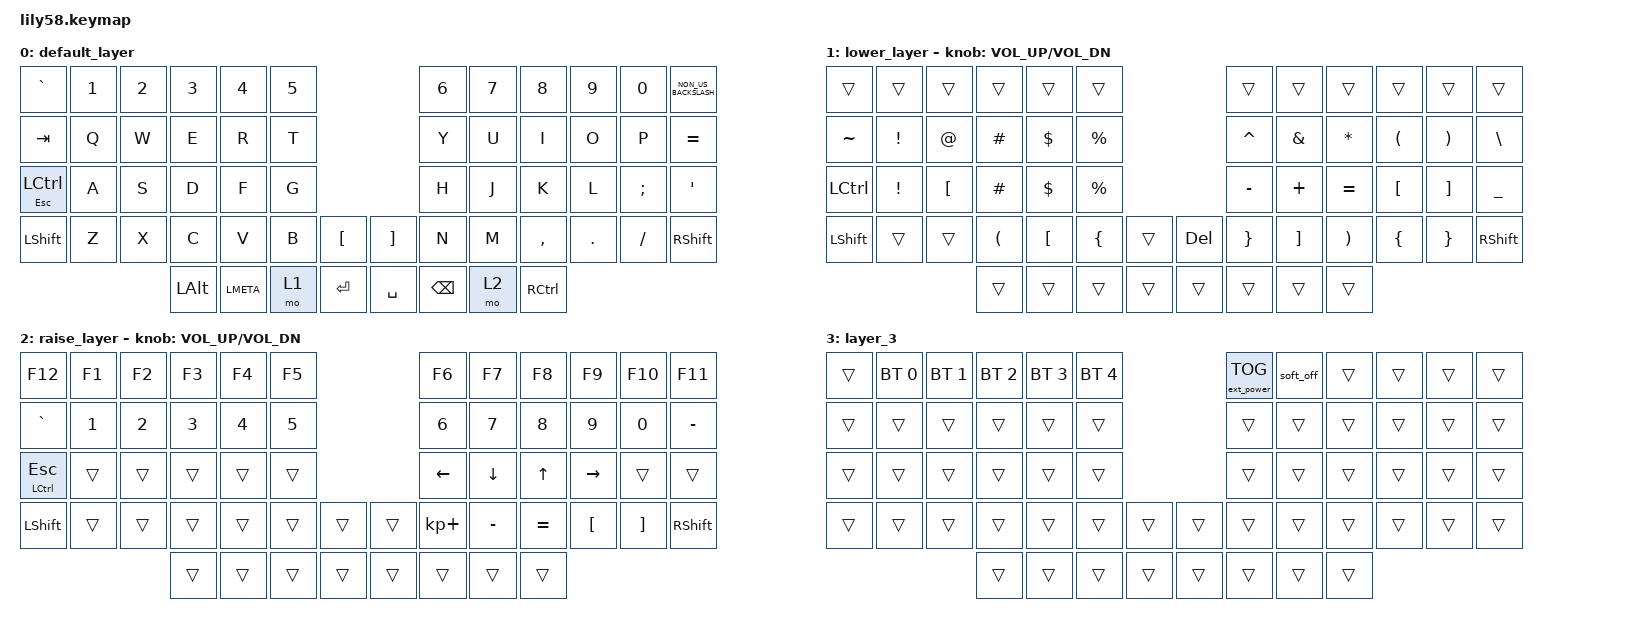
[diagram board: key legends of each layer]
/*
 * Copyright (c) 2020 The ZMK Contributors
 *
 * SPDX-License-Identifier: MIT
 */

#include <behaviors.dtsi>
#include <dt-bindings/zmk/bt.h>
#include <dt-bindings/zmk/ext_power.h>
#include <dt-bindings/zmk/keys.h>

/ {
    // Combo keys are a way to combine multiple keypresses to output a different key.

    combos {
        compatible = "zmk,combos";

        combo_clear_bluetooth {
            timeout-ms = <50>; // Press all the below keys within 50ms to activate mapping
            key-positions = <52 42 0>; // Press 52=LOWER, 42=[, 0=tilde
            bindings = <&bt BT_CLR>; // activate clear bluetooth bindings for current channel
        };

        layer3 {
            bindings = <&mo 3>;
            key-positions = <51 56>;
        };
    };

    keymap {
        compatible = "zmk,keymap";

        default_layer {
            // ------------------------------------------------------------------------------------------------------------
            // |   `      |  1  |  2  |  3   |  4   |  5   |                   |  6   |  7    |  8    |  9   |   0   |   -   |
            // |  TAB     |  Q  |  W  |  E   |  R   |  T   |                   |  Y   |  U    |  I    |  O   |   P   |   =   |
            // |hCTRL tESC|  A  |  S  |  D   |  F   |  G   |                   |  H   |  J    |  K    |  L   |   ;   |   '   |
            // | SHIFT    |  Z  |  X  |  C   |  V   |  B   |   "["  |  |  "]"  |  N   |  M    |  ,    |  .   |   /   | SHIFT |
            //                        | ALT  | GUI  | LOWER|  SPACE |  | BSPC  | ENTER| RAISE | CTRL  |

            bindings = <
&kp GRAVE      &kp N1  &kp N2  &kp N3    &kp N4     &kp N5                          &kp N6         &kp N7  &kp N8     &kp N9   &kp N0    &kp NON_US_BACKSLASH
&kp TAB        &kp Q   &kp W   &kp E     &kp R      &kp T                           &kp Y          &kp U   &kp I      &kp O    &kp P     &kp EQUAL
&mt ESC LCTRL  &kp A   &kp S   &kp D     &kp F      &kp G                           &kp H          &kp J   &kp K      &kp L    &kp SEMI  &kp SQT
&kp LSHFT      &kp Z   &kp X   &kp C     &kp V      &kp B   &kp LBKT     &kp RBKT   &kp N          &kp M   &kp COMMA  &kp DOT  &kp FSLH  &kp RSHFT
                               &kp LALT  &kp LMETA  &mo 1   &kp ENTER    &kp SPACE  &kp BACKSPACE  &mo 2   &kp RCTRL
            >;
        };

        lower_layer {
            // ------------------------------------------------------------------------------------------------------------
            // | EXT PWR TOGGLE | BT1     | BT2    |  BT3 |  BT4  |  BT5 |                    |      |       |       |      |       |       |
            // |                |         |        |      |       |      |                    |      |       |       |      |       |   \   |
            // |   ~            |  !      |  @     |  #   |  $    |  %   |                    |  ^   |  &    |  *    |  (   |   )   |   _   |
            // | SHIFT          |  EP_ON  | EP_OFF |      |  (    |  {   |       |  |   DEL   |  }   |  )    |  +    |  {   |   }   | SHIFT |
            //                                     |      |       |      |       |  |         |      |       |       |

            bindings = <
&trans      &trans           &trans            &trans    &trans            &trans                             &trans     &trans             &trans                 &trans                &trans                 &trans
&kp TILDE   &kp EXCLAMATION  &kp AT_SIGN       &kp HASH  &kp DOLLAR        &kp PERCENT                        &kp CARET  &kp AMPERSAND      &kp ASTERISK           &kp LEFT_PARENTHESIS  &kp RIGHT_PARENTHESIS  &kp BSLH
&kp LCTRL   &kp EXCL         &kp LEFT_BRACKET  &kp HASH  &kp DOLLAR        &kp PRCNT                          &kp MINUS  &kp PLUS           &kp EQUAL              &kp LEFT_BRACKET      &kp RIGHT_BRACKET      &kp UNDER
&kp LSHIFT  &trans           &trans            &kp LPAR  &kp LEFT_BRACKET  &kp LEFT_BRACE  &trans    &kp DEL  &kp RBRC   &kp RIGHT_BRACKET  &kp RIGHT_PARENTHESIS  &kp LBRC              &kp RBRC               &kp RSHFT
                                               &trans    &trans            &trans          &trans    &trans   &trans     &trans             &trans
            >;

            sensor-bindings = <&inc_dec_kp C_VOL_UP C_VOL_DN>;
        };

        raise_layer {
            // ------------------------------------------------------------------------------------------------------------
            // |  F12    |  F1 |  F2 |  F3  |  F4  |  F5  |                   |  F6  |   F7  |   F8  |  F9  |  F10  |  F11  |
            // |   `     |  1  |  2  |  3   |  4   |  5   |                   |  6   |   7   |   8   |  9   |   0   |   -   |
            // |CTRL/ESC |     |     |      |      |      |                   |  <-  |   ^   |   v   |  ->  |       |       |
            // | SHIFT   |     |     |      |      |      |        |  |       |  +   |   -   |   =   |  [   |   ]   |   \   |
            //                       |      |      |      |        |  |       |      |       |       |

            bindings = <
&kp F12        &kp F1  &kp F2  &kp F3  &kp F4  &kp F5                    &kp F6       &kp F7     &kp F8     &kp F9     &kp F10   &kp F11
&kp GRAVE      &kp N1  &kp N2  &kp N3  &kp N4  &kp N5                    &kp N6       &kp N7     &kp N8     &kp N9     &kp N0    &kp MINUS
&mt LCTRL ESC  &trans  &trans  &trans  &trans  &trans                    &kp LEFT     &kp DOWN   &kp UP     &kp RIGHT  &trans    &trans
&kp LSHIFT     &trans  &trans  &trans  &trans  &trans  &trans    &trans  &kp KP_PLUS  &kp MINUS  &kp EQUAL  &kp LBKT   &kp RBKT  &kp RIGHT_SHIFT
                               &trans  &trans  &trans  &trans    &trans  &trans       &trans     &trans
            >;

            sensor-bindings = <&inc_dec_kp C_VOL_UP C_VOL_DN>;
        };

        layer_3 {
            bindings = <
&trans  &bt BT_SEL 0  &bt BT_SEL 1  &bt BT_SEL 2  &bt BT_SEL 3  &bt BT_SEL 4                    &ext_power EP_TOG  &soft_off  &trans  &trans  &trans  &trans
&trans  &trans        &trans        &trans        &trans        &trans                          &trans             &trans     &trans  &trans  &trans  &trans
&trans  &trans        &trans        &trans        &trans        &trans                          &trans             &trans     &trans  &trans  &trans  &trans
&trans  &trans        &trans        &trans        &trans        &trans        &trans    &trans  &trans             &trans     &trans  &trans  &trans  &trans
                                    &trans        &trans        &trans        &trans    &trans  &trans             &trans     &trans
            >;
        };
    };
};
